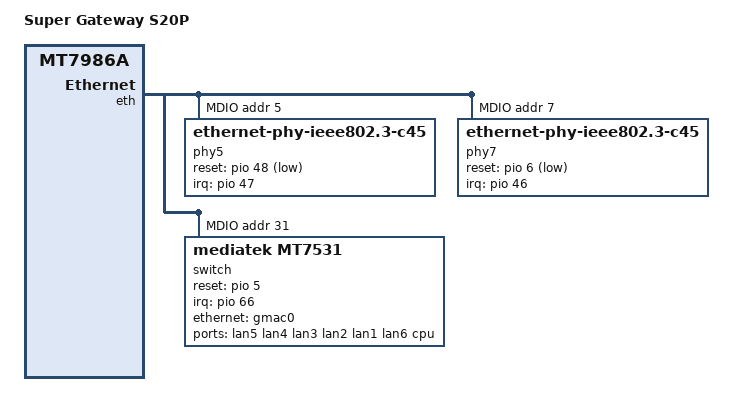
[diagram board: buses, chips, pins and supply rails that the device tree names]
// SPDX-License-Identifier: GPL-2.0-or-later OR MIT

/dts-v1/;
#include "mt7986a-supergateway-s20-common.dtsi"

/ {
	model = "Super Gateway S20P";
	compatible = "supergateway,s20p", "mediatek,mt7986a";

	aliases {
		label-mac-device = &gmac1;
	};
};

&eth {
	status = "okay";

	gmac0: mac@0 {
		compatible = "mediatek,eth-mac";
		reg = <0>;
		phy-mode = "2500base-x";
		nvmem-cells = <&macaddr_factory_2a 0>;
		nvmem-cell-names = "mac-address";

		fixed-link {
			speed = <2500>;
			full-duplex;
			pause;
		};
	};

	gmac1: mac@1 {
		compatible = "mediatek,eth-mac";
		reg = <1>;
		nvmem-cells = <&macaddr_factory_24 0>;
		nvmem-cell-names = "mac-address";
		phy-mode = "2500base-x";
		phy-handle = <&phy7>;
	};

	mdio: mdio-bus {
		#address-cells = <1>;
		#size-cells = <0>;

		phy5: ethernet-phy@5 {
			compatible = "ethernet-phy-ieee802.3-c45";
			reg = <5>;
			reset-assert-us = <100000>;
			reset-deassert-us = <100000>;
			reset-gpios = <&pio 48 GPIO_ACTIVE_LOW>;
			interrupt-parent = <&pio>;
			interrupts = <47 IRQ_TYPE_LEVEL_LOW>;
			realtek,aldps-enable;
			realtek,led-link-select = <0xa7 0x03 0x0>; /* led0 at 10/100/1000/2.5G/(2.5G lite), led1 at 10/100 */
			realtek,led-act-select = <0x321b>; /* led on time = 400ms, duty = 12.5%, freq = 60ms, Enable 10M LPI, modeA, led0 led1 act */
			/*realtek,led-polarity-select = <0x0018>; */
		};

		phy7: ethernet-phy@7 {
			compatible = "ethernet-phy-ieee802.3-c45";
			reg = <7>;
			reset-assert-us = <100000>;
			reset-deassert-us = <100000>;
			reset-gpios = <&pio 6 GPIO_ACTIVE_LOW>;
			interrupt-parent = <&pio>;
			interrupts = <46 IRQ_TYPE_LEVEL_LOW>;
			realtek,aldps-enable;
			realtek,led-link-select = <0xa7 0x03 0x0>; /* led0 at 10/100/1000/2.5G/(2.5G lite), led1 at 10/100 */
			realtek,led-act-select = <0x321b>; /* led on time = 400ms, duty = 12.5%, freq = 60ms, Enable 10M LPI, modeA, led0 led1 act */
			/*realtek,led-polarity-select = <0x0018>; */
		};

		switch: switch@1f {
			compatible = "mediatek,mt7531";
			reg = <31>;
			reset-gpios = <&pio 5 GPIO_ACTIVE_HIGH>;
			interrupt-controller;
			#interrupt-cells = <1>;
			interrupt-parent = <&pio>;
			interrupts = <66 IRQ_TYPE_LEVEL_HIGH>;

			ports {
				#address-cells = <1>;
				#size-cells = <0>;

				port@0 {
					reg = <0>;
					label = "lan5";
				};

				port@1 {
					reg = <1>;
					label = "lan4";
				};

				port@2 {
					reg = <2>;
					label = "lan3";
				};

				port@3 {
					reg = <3>;
					label = "lan2";
				};

				port@4 {
					reg = <4>;
					label = "lan1";
				
				};

				port@5 {
					reg = <5>;
					label = "lan6";
					phy-mode = "2500base-x";
					phy-handle = <&phy5>;
				};

				port@6 {
					reg = <6>;
					label = "cpu";
					ethernet = <&gmac0>;
					phy-mode = "2500base-x";

					fixed-link {
						speed = <2500>;
						full-duplex;
						pause;
					};
				};
			};
		};
	};
};
